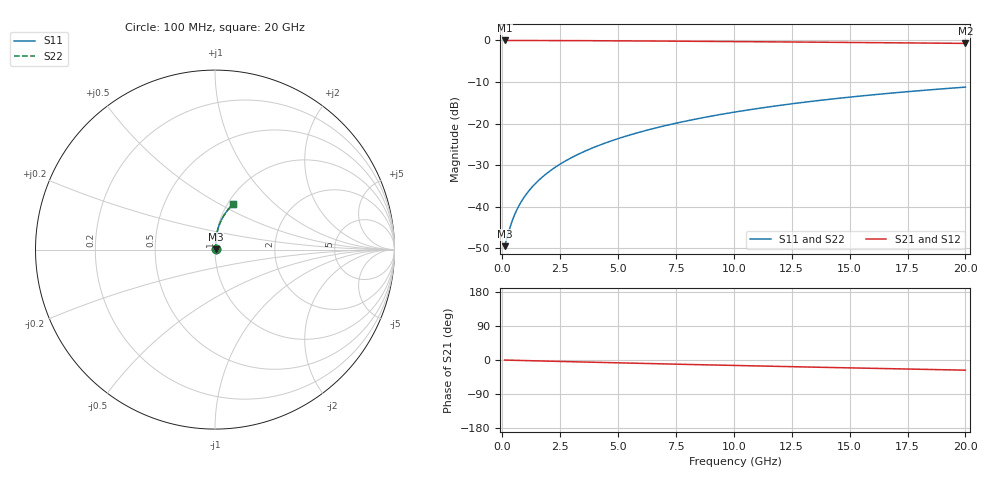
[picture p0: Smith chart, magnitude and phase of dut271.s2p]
! Touchstone file exported from HFSS 2024.1.0
!  File:  C:/UserFiles/LocalFiles/RDL_TSV_Batchsim/temp_RDL_top_271_1778689646.aedt
!  Generated:  12:29:56 AM May 14, 2026
!  Design:  RDL_top
!  Project:  temp_RDL_top_271_1778689646
!  Setup:  Setup1
!  Solution:  Sweep
! Variables:
!  dtsv = 10.80580581um
!  hbump = 3um
!  htsv = 77.77um
!  ldown = 100um
!  lrdl = 361.65um
!  p = 40
!  p1 = 42.22um
!  rhole = 1um
!  t = 450um
!  tdown = 3.915915916um
!  trdl = 2.41um
!  wdown = 15.38538539um
!  wrdl = 19.27um
# GHz S MA R 50.000000
! Terminal data exported
! Port[1] = Box2_T1
! Port[2] = Box2_T2
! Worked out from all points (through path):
!   200 points, 100 MHz to 20 GHz, reference 50 ohm
!   highest |S21| = -0.03 dB at 100 MHz (marker M1); lowest = -0.7 dB at 20 GHz (marker M2)
!   group delay of S21, straight-line fit = 3.71 ps
!   lowest |S11| = -49.5 dB at 100 MHz (marker M3), VSWR 1.01, Z = 50.3 + j0.143 ohm
!   |S11| at or under -10 dB: start of sweep to end of sweep
!   |S22| runs from -49.5 to -11.2 dB; largest |S21 - S12| = 2.3e-15
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0.1  0.00336 25.0  0.997 -0.2  0.997 -0.2  0.00336 25.0
! Gamma 0 0 0 0
! Port Impedance 50 0 50 0
0.3  0.005274 52.6  0.9968 -0.5  0.9968 -0.5  0.005274 52.6
0.4  0.006442 59.1  0.9966 -0.6  0.9966 -0.6  0.006442 59.2
0.5  0.007642 63.5  0.9965 -0.8  0.9965 -0.8  0.007642 63.5
0.6  0.008853 66.7  0.9964 -0.9  0.9964 -0.9  0.008853 66.7
0.7  0.01007 69.1  0.9962 -1.1  0.9962 -1.1  0.01007 69.1
0.9  0.0125 72.6  0.996 -1.4  0.996 -1.4  0.0125 72.6
1.2  0.01618 76.1  0.9956 -1.9  0.9956 -1.9  0.01618 76.1
1.4  0.01865 77.7  0.9954 -2.2  0.9954 -2.2  0.01865 77.7
1.7  0.0224 79.4  0.9949 -2.6  0.9949 -2.6  0.0224 79.4
2.2  0.02873 81.4  0.9941 -3.4  0.9941 -3.4  0.02873 81.4
2.8  0.03647 82.7  0.993 -4.3  0.993 -4.3  0.03647 82.7
3.5  0.04565 83.6  0.9913 -5.3  0.9913 -5.3  0.04565 83.6
4.2  0.05501 84.0  0.9894 -6.3  0.9894 -6.3  0.05501 84.0
5  0.06589 84.1  0.9869 -7.5  0.9869 -7.5  0.06589 84.1
5.9  0.07835 83.9  0.9837 -8.8  0.9837 -8.8  0.07836 83.9
6.8  0.09102 83.4  0.9804 -10.0  0.9804 -10.0  0.09102 83.4
8.4  0.1139 82.1  0.9739 -12.2  0.9739 -12.2  0.1139 82.1
10.1  0.1383 80.3  0.9665 -14.5  0.9665 -14.5  0.1383 80.4
13.4  0.1855 76.4  0.9515 -18.8  0.9515 -18.8  0.1855 76.4
16.7  0.231 72.2  0.9357 -22.9  0.9357 -22.9  0.231 72.2
20  0.274 68.0  0.9195 -26.9  0.9195 -26.9  0.2741 68.0
